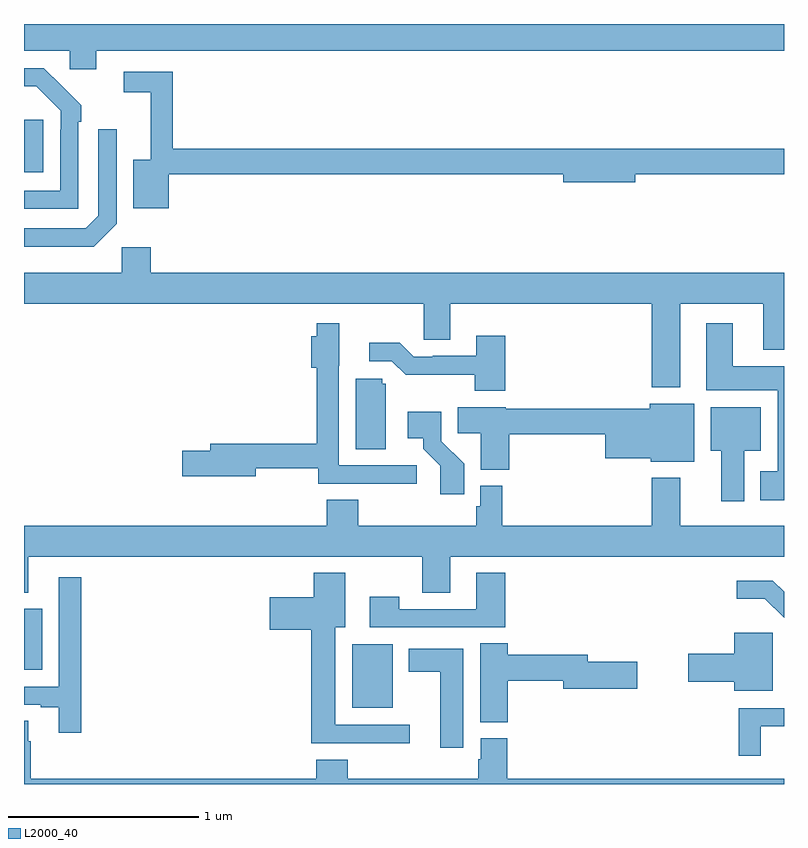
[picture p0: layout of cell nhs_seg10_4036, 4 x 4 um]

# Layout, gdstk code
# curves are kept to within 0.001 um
import gdstk
lib = gdstk.Library(unit=1e-6, precision=1e-09)
def R(c, l, rs):  # rectangles x0, y0, x1, y1
    for r in rs: c.add(gdstk.rectangle(r[:2], r[2:], *l))
def P(c, l, *ps):  # polygons
    for p in ps: c.add(gdstk.Polygon(p, *l))
L2000_40 = (2000, 40)

nhs_seg10_4036 = lib.new_cell('nhs_seg10_4036')
R(nhs_seg10_4036, L2000_40, [(336.728,1252.901,336.94,1253.236), (335,1253.102,335.095,1253.422), (335,1255.721,335.101,1255.996)])
P(nhs_seg10_4036, L2000_40, [(335.38,1256.36),(339,1256.36),(339,1256.5),(335,1256.5),(335,1256.36),(335.241,1256.36),(335.241,1256.262),(335.38,1256.262)],
  [(335.286,1255.985),(335.301,1255.985),(335.301,1256.073),(335.196,1256.178),(335.195,1256.177),(335.104,1256.268),(335,1256.268),(335,1256.172),(335.065,1256.172),(335.193,1256.043),(335.193,1255.943),(335.19,1255.943),(335.19,1255.623),(335,1255.623),(335,1255.527),(335.286,1255.527)],
  [(335.763,1255.708),(337.838,1255.708),(337.838,1255.666),(338.218,1255.666),(338.218,1255.708),(339,1255.708),(339,1255.844),(335.783,1255.844),(335.783,1256.25),(335.526,1256.25),(335.526,1256.142),(335.666,1256.142),(335.666,1255.786),(335.576,1255.786),(335.576,1255.529),(335.763,1255.529)],
  [(335.487,1255.449),(335.487,1255.945),(335.391,1255.945),(335.391,1255.491),(335.325,1255.425),(335,1255.425),(335,1255.328),(335.366,1255.328)],
  [(338.455,1255.028),(338.891,1255.028),(338.891,1254.785),(339,1254.785),(339,1255.192),(335.666,1255.192),(335.666,1255.324),(335.514,1255.324),(335.514,1255.192),(335,1255.192),(335,1255.028),(337.104,1255.028),(337.104,1254.838),(337.243,1254.838),(337.243,1255.028),(338.303,1255.028),(338.303,1254.587),(338.455,1254.587)],
  [(337.066,1254.177),(336.657,1254.177),(336.657,1254.702),(336.658,1254.702),(336.658,1254.925),(336.541,1254.925),(336.541,1254.856),(336.512,1254.856),(336.512,1254.691),(336.541,1254.691),(336.541,1254.29),(335.981,1254.29),(335.981,1254.254),(335.832,1254.254),(335.832,1254.119),(336.22,1254.119),(336.22,1254.162),(336.549,1254.162),(336.549,1254.081),(336.841,1254.081),(336.841,1254.079),(337.066,1254.079)],
  [(339,1254.7),(338.731,1254.7),(338.731,1254.925),(338.591,1254.925),(338.591,1254.572),(338.966,1254.572),(338.966,1254.145),(338.876,1254.145),(338.876,1253.993),(339,1253.993)],
  [(337.532,1254.859),(337.379,1254.859),(337.379,1254.753),(337.15,1254.753),(337.15,1254.75),(337.05,1254.75),(336.977,1254.823),(336.816,1254.823),(336.816,1254.726),(336.936,1254.726),(337.009,1254.653),(337.372,1254.654),(337.372,1254.569),(337.532,1254.569)],
  [(336.904,1254.606),(336.885,1254.606),(336.885,1254.633),(336.746,1254.633),(336.746,1254.262),(336.904,1254.262)],
  [(337.553,1254.34),(338.06,1254.34),(338.06,1254.215),(338.298,1254.215),(338.298,1254.197),(338.527,1254.197),(338.527,1254.502),(338.294,1254.502),(338.294,1254.476),(337.536,1254.476),(337.536,1254.484),(337.282,1254.484),(337.282,1254.346),(337.403,1254.346),(337.403,1254.155),(337.553,1254.155)],
  [(338.791,1254.254),(338.878,1254.254),(338.878,1254.484),(338.615,1254.484),(338.615,1254.254),(338.669,1254.254),(338.669,1253.988),(338.791,1253.988)],
  [(337.316,1254.186),(337.197,1254.305),(337.197,1254.46),(337.02,1254.46),(337.02,1254.32),(337.1,1254.32),(337.1,1254.265),(337.191,1254.175),(337.191,1254.024),(337.316,1254.024)],
  [(337.243,1253.696),(339,1253.696),(339,1253.86),(338.455,1253.86),(338.455,1254.112),(338.303,1254.112),(338.303,1253.86),(337.517,1253.86),(337.517,1254.07),(337.401,1254.07),(337.401,1253.961),(337.381,1253.961),(337.381,1253.86),(336.758,1253.86),(336.758,1253.996),(336.593,1253.996),(336.593,1253.86),(335,1253.86),(335,1253.507),(335.023,1253.507),(335.023,1253.696),(337.096,1253.696),(337.096,1253.506),(337.243,1253.506)],
  [(337.532,1253.611),(337.379,1253.611),(337.379,1253.421),(336.975,1253.421),(336.975,1253.485),(336.819,1253.485),(336.819,1253.325),(337.532,1253.325)],
  [(337.03,1252.812),(336.637,1252.812),(336.637,1253.324),(336.691,1253.324),(336.691,1253.611),(336.524,1253.611),(336.524,1253.482),(336.294,1253.482),(336.294,1253.312),(336.512,1253.312),(336.512,1252.715),(337.03,1252.715)],
  [(335.3,1253.587),(335.184,1253.587),(335.184,1253.013),(335,1253.013),(335,1252.917),(335.087,1252.917),(335.087,1252.905),(335.183,1252.905),(335.183,1252.77),(335.3,1252.77)],
  [(339,1253.511),(338.94,1253.571),(338.751,1253.571),(338.751,1253.474),(338.899,1253.474),(339,1253.374)],
  [(338.941,1253.296),(338.738,1253.296),(338.738,1253.186),(338.496,1253.186),(338.496,1253.039),(338.738,1253.039),(338.738,1252.991),(338.941,1252.991)],
  [(337.547,1253.044),(337.838,1253.044),(337.838,1253.002),(338.227,1253.002),(338.227,1253.144),(337.966,1253.144),(337.966,1253.18),(337.547,1253.18),(337.547,1253.24),(337.4,1253.24),(337.4,1252.825),(337.547,1252.825)],
  [(337.312,1253.212),(337.025,1253.212),(337.025,1253.09),(337.19,1253.09),(337.19,1252.692),(337.312,1252.692)],
  [(338.878,1252.803),(339,1252.803),(339,1252.899),(338.761,1252.899),(338.761,1252.65),(338.878,1252.65)],
  [(339,1252.528),(337.544,1252.528),(337.544,1252.74),(337.403,1252.74),(337.403,1252.629),(337.391,1252.629),(337.391,1252.528),(336.704,1252.528),(336.704,1252.627),(336.539,1252.627),(336.539,1252.528),(335.036,1252.528),(335.036,1252.724),(335.023,1252.724),(335.023,1252.832),(335,1252.832),(335,1252.5),(339,1252.5)])

lib.write_gds('nhs_seg10_4036.gds')
